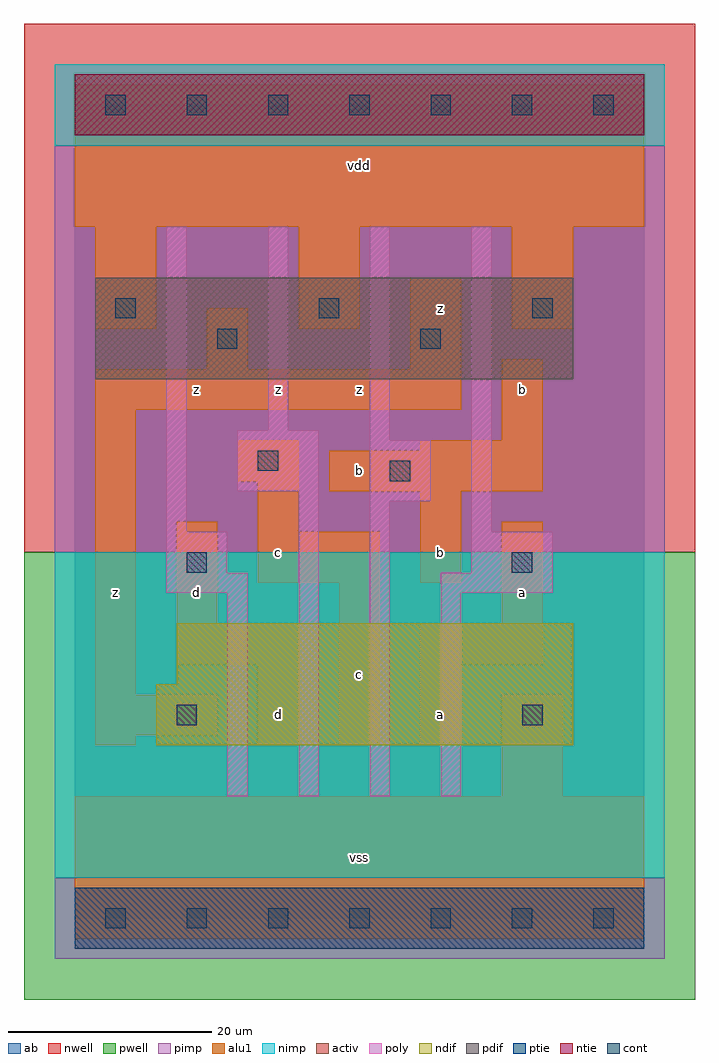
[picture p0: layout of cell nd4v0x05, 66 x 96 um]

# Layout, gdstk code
import gdstk
lib = gdstk.Library(unit=1e-6, precision=1e-09)
def R(c, l, rs):  # rectangles x0, y0, x1, y1
    for r in rs: c.add(gdstk.rectangle(r[:2], r[2:], *l))
def A(c, l, x, y, w, h, nx, ny, dx, dy):  # array of equal rectangles
    R(c, l, [(x+i*dx, y+j*dy, x+i*dx+w, y+j*dy+h) for i in range(nx) for j in range(ny)])
ndif = (3, 0)
pdif = (4, 0)
ntie = (5, 0)
ptie = (6, 0)
cont = (25, 0)
pwell = (41, 0)
nwell = (42, 0)
activ = (43, 0)
pimp = (44, 0)
nimp = (45, 0)
poly = (46, 0)
alu1 = (49, 0)
ab = (63, 0)

nd4v0x05 = lib.new_cell('nd4v0x05')
R(nd4v0x05, ndif, [(8,17,49,23), (10,23,49,29)])
R(nd4v0x05, pdif, [(2,53,49,63)])
R(nd4v0x05, ntie, [(0,77,56,83)])
R(nd4v0x05, ptie, [(0,-3,56,3)])
A(nd4v0x05, cont, 3, -1, 2, 2, 7, 2, 8, 80)
R(nd4v0x05, cont, [(10,19,12,21), (44,19,46,21), (11,34,13,36), (43,34,45,36), (31,43,33,45), (18,44,20,46), (14,56,16,58), (34,56,36,58), (4,59,6,61), (24,59,26,61), (45,59,47,61)])
R(nd4v0x05, pwell, [(-5,-8,61,36)])
R(nd4v0x05, nwell, [(-5,36,61,88)])
R(nd4v0x05, activ, [(0,-3,56,3), (8,17,49,23), (10,23,49,29), (2,53,49,63), (0,77,56,83)])
R(nd4v0x05, pimp, [(-2,-4,58,4), (-2,36,58,76)])
R(nd4v0x05, nimp, [(-2,4,58,36), (-2,76,58,84)])
R(nd4v0x05, poly, [(15,12,17,32), (22,12,24,42), (29,12,31,41), (36,12,38,32), (9,32,17,34), (36,32,47,34), (9,34,15,38), (39,34,47,38), (9,38,11,68), (39,38,41,68), (29,41,35,47), (16,42,24,48), (29,47,31,68), (19,48,21,68)])
R(nd4v0x05, alu1, [(0,-2,56,12), (42,12,48,22), (2,17,6,18), (18,17,22,25), (26,17,30,33), (34,17,38,25), (2,18,14,22), (2,22,6,50), (10,25,22,29), (34,25,46,29), (10,29,14,39), (42,29,46,39), (18,33,30,38), (34,33,38,42), (18,38,22,43), (25,42,46,46), (16,43,22,47), (34,46,46,47), (42,47,46,55), (2,50,38,54), (13,54,17,60), (33,54,38,63), (2,58,8,68), (22,58,28,68), (43,58,49,68), (0,68,56,82)])
R(nd4v0x05, ab, [(0,0,56,80)])
nd4v0x05.add(gdstk.Label('z', (4,32), layer=49, texttype=0))
nd4v0x05.add(gdstk.Label('d', (20,20), layer=49, texttype=0))
nd4v0x05.add(gdstk.Label('d', (12,32), layer=49, texttype=0))
nd4v0x05.add(gdstk.Label('c', (20,36), layer=49, texttype=0))
nd4v0x05.add(gdstk.Label('z', (12,52), layer=49, texttype=0))
nd4v0x05.add(gdstk.Label('z', (20,52), layer=49, texttype=0))
nd4v0x05.add(gdstk.Label('vss', (28,6), layer=49, texttype=0))
nd4v0x05.add(gdstk.Label('a', (36,20), layer=49, texttype=0))
nd4v0x05.add(gdstk.Label('c', (28,24), layer=49, texttype=0))
nd4v0x05.add(gdstk.Label('b', (36,36), layer=49, texttype=0))
nd4v0x05.add(gdstk.Label('b', (28,44), layer=49, texttype=0))
nd4v0x05.add(gdstk.Label('z', (28,52), layer=49, texttype=0))
nd4v0x05.add(gdstk.Label('z', (36,60), layer=49, texttype=0))
nd4v0x05.add(gdstk.Label('vdd', (28,74), layer=49, texttype=0))
nd4v0x05.add(gdstk.Label('a', (44,32), layer=49, texttype=0))
nd4v0x05.add(gdstk.Label('b', (44,52), layer=49, texttype=0))

lib.write_gds('nd4v0x05.gds')
